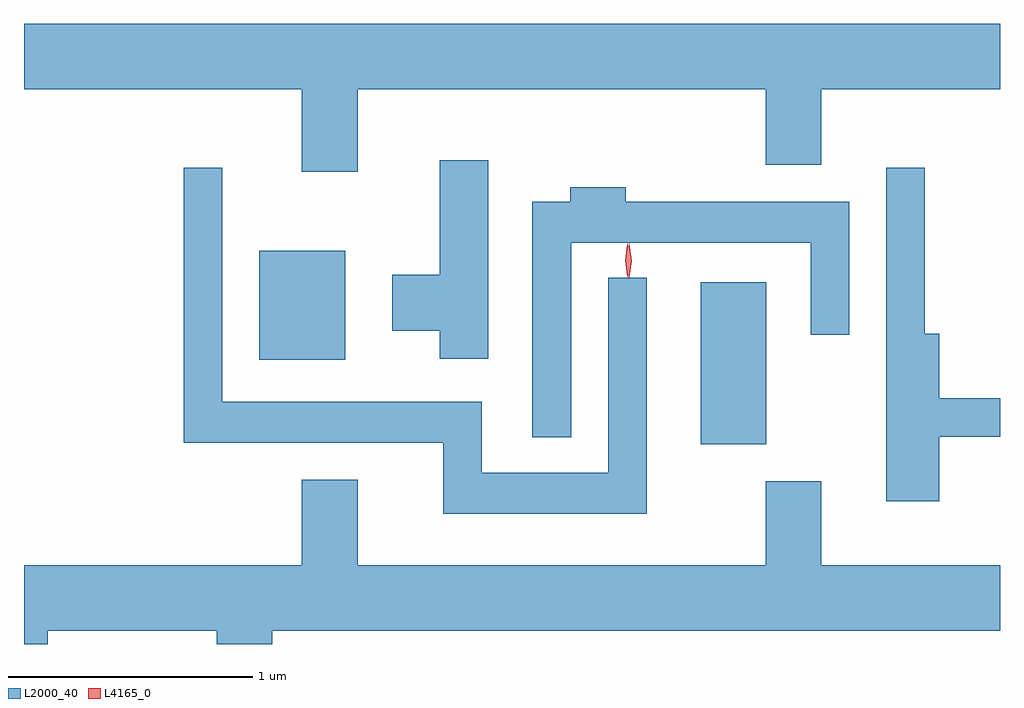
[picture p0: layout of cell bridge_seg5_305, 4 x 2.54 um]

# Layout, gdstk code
import gdstk
lib = gdstk.Library(unit=1e-6, precision=1e-09)
def R(c, l, rs):  # rectangles x0, y0, x1, y1
    for r in rs: c.add(gdstk.rectangle(r[:2], r[2:], *l))
def P(c, l, *ps):  # polygons
    for p in ps: c.add(gdstk.Polygon(p, *l))
L2000_40 = (2000, 40)
L4165_0 = (4165, 0)

bridge_seg5_305 = lib.new_cell('bridge_seg5_305')
R(bridge_seg5_305, L2000_40, [(699.956,1506.401,700.224,1507.064), (698.146,1506.746,698.499,1507.194)])
P(bridge_seg5_305, L2000_40, [(698.549,1507.856),(700.221,1507.856),(700.221,1507.546),(700.449,1507.546),(700.449,1507.856),(701.182,1507.856),(701.182,1508.124),(697.182,1508.124),(697.182,1507.856),(698.321,1507.856),(698.321,1507.516),(698.549,1507.516)],
  [(699.084,1507.564),(698.886,1507.564),(698.886,1507.094),(698.691,1507.094),(698.691,1506.866),(698.886,1506.866),(698.886,1506.751),(699.084,1506.751)],
  [(699.734,1507.083),(699.576,1507.083),(699.576,1506.284),(699.059,1506.284),(699.059,1506.574),(697.994,1506.574),(697.994,1507.533),(697.836,1507.533),(697.836,1506.406),(698.901,1506.406),(698.901,1506.116),(699.734,1506.116)],
  [(700.934,1506.431),(701.182,1506.431),(701.182,1506.589),(700.934,1506.589),(700.934,1506.854),(700.874,1506.854),(700.874,1507.533),(700.716,1507.533),(700.716,1506.166),(700.934,1506.166)],
  [(699.424,1507.226),(700.406,1507.226),(700.406,1506.848),(700.564,1506.848),(700.564,1507.394),(699.649,1507.394),(699.649,1507.454),(699.421,1507.454),(699.421,1507.394),(699.266,1507.394),(699.266,1506.428),(699.424,1506.428)],
  [(697.279,1505.636),(697.971,1505.636),(697.971,1505.58),(698.199,1505.58),(698.199,1505.636),(701.182,1505.636),(701.182,1505.904),(700.449,1505.904),(700.449,1506.249),(700.221,1506.249),(700.221,1505.904),(698.549,1505.904),(698.549,1506.254),(698.321,1506.254),(698.321,1505.904),(697.182,1505.904),(697.182,1505.58),(697.279,1505.58)])
P(bridge_seg5_305, L4165_0, [(699.661,1507.083),(699.661,1507.084),(699.652,1507.153),(699.662,1507.222),(699.662,1507.223),(699.663,1507.222),(699.672,1507.153),(699.662,1507.084)],
  [(699.656,1507.087),(699.655,1507.088),(699.646,1507.154),(699.655,1507.22),(699.656,1507.221),(699.656,1507.22),(699.666,1507.154),(699.656,1507.088)])

lib.write_gds('bridge_seg5_305.gds')
